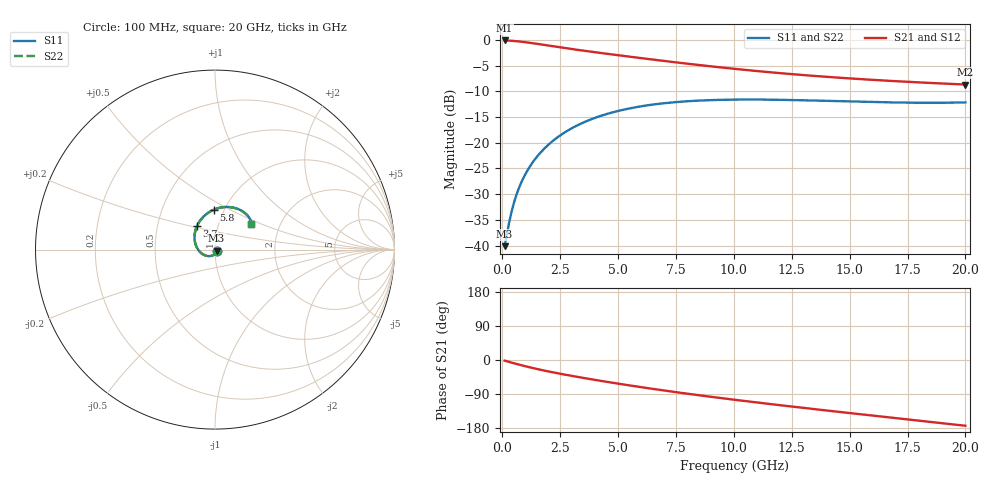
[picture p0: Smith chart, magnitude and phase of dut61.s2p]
! Touchstone file exported from HFSS 2024.1.0
!  File:  C:/UserFiles/LocalFiles/RDL_TSV_Batchsim/temp_RDL_TSV_61_1779409297.aedt
!  Generated:  08:36:00 AM May 22, 2026
!  Design:  RDL_TSV
!  Project:  temp_RDL_TSV_61_1779409297
!  Setup:  Setup1
!  Solution:  Sweep
! Variables:
!  dtsv = 12.52um
!  hbump = 3um
!  htsv = 89.58um
!  ldown = 319.32um
!  lrdl = 308.99um
!  p = 40
!  p1 = 53.17um
!  rhole = 10um
!  subl = 2193.92um
!  t = 450um
!  tdown = 4.8um
!  trdl = 4.04um
!  viad = 10um
!  wdown = 16.79um
!  wrdl = 29.91um
!  xbump = 18um
# GHz S MA R 50.000000
! Terminal data exported
! Port[1] = TM1_1_T1
! Port[2] = TM1_4_T1
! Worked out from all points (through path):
!   200 points, 100 MHz to 20 GHz, reference 50 ohm
!   highest |S21| = -0.08 dB at 100 MHz (marker M1); lowest = -8.7 dB at 20 GHz (marker M2)
!   group delay of S21, straight-line fit = 22.5 ps
!   lowest |S11| = -40.1 dB at 100 MHz (marker M3), VSWR 1.02, Z = 50.8 - j0.53 ohm
!   |S11| at or under -10 dB: start of sweep to end of sweep
!   |S22| runs from -40.1 to -11.6 dB; largest |S21 - S12| = 9.2e-15
!   S11 on the Smith chart (normalised r, x): 100 MHz: 1.02, -0.01; 3.7 GHz: 0.79, +0.21; 5.8 GHz: 0.89, +0.42; 20 GHz: 1.43, +0.43
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0.1  0.009858 -31.9  0.9907 -1.8  0.9907 -1.8  0.009859 -31.9
! Gamma 0 0 0 0
! Port Impedance 50 0 50 0
0.3  0.01691 -72.4  0.9863 -5.2  0.9863 -5.2  0.01691 -72.4
0.4  0.02132 -85.2  0.9831 -6.9  0.9831 -6.9  0.02132 -85.1
0.6  0.03061 -104.5  0.975 -10.2  0.975 -10.2  0.03061 -104.4
0.7  0.03536 -112.4  0.9701 -11.8  0.9701 -11.8  0.03535 -112.4
0.9  0.0449 -126.4  0.9589 -15.0  0.9589 -15.0  0.04489 -126.4
1.2  0.05919 -144.3  0.9395 -19.5  0.9395 -19.5  0.05917 -144.3
1.7  0.08255 -169.1  0.904 -26.4  0.904 -26.4  0.08251 -169.0
2.2  0.105 170.8  0.8688 -32.7  0.8688 -32.7  0.1049 170.8
2.8  0.1304 151.0  0.8297 -39.7  0.8297 -39.7  0.1303 151.1
3.5  0.1574 132.5  0.7884 -47.3  0.7884 -47.3  0.1572 132.5
3.7  0.1645 127.9  0.7774 -49.4  0.7774 -49.4  0.1643 127.9
4.7  0.196 108.3  0.7261 -59.5  0.7261 -59.5  0.1956 108.4
5.8  0.2226 91.7  0.6752 -69.9  0.6752 -69.9  0.2222 91.8
6.8  0.2401 79.8  0.6333 -78.9  0.6333 -78.9  0.2395 79.8
8.4  0.2568 65.0  0.5743 -92.3  0.5743 -92.3  0.2561 65.0
10.1  0.2633 53.6  0.5224 -105.5  0.5224 -105.5  0.2625 53.6
11.7  0.2626 45.9  0.4827 -117.2  0.4827 -117.2  0.2618 45.9
13.4  0.2579 40.2  0.4488 -129.1  0.4488 -129.1  0.2571 40.3
15  0.2523 37.0  0.4231 -140.0  0.4231 -140.0  0.2514 37.0
16.7  0.2473 35.2  0.401 -151.4  0.401 -151.4  0.2464 35.3
20  0.2469 35.3  0.3688 -173.5  0.3688 -173.5  0.2462 35.4
